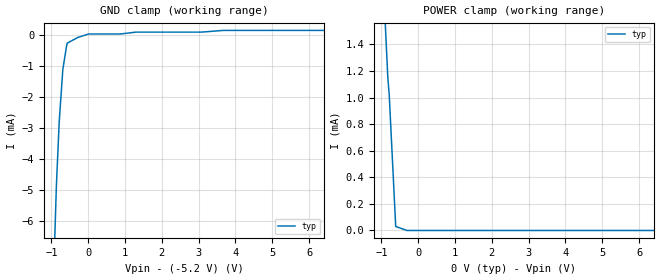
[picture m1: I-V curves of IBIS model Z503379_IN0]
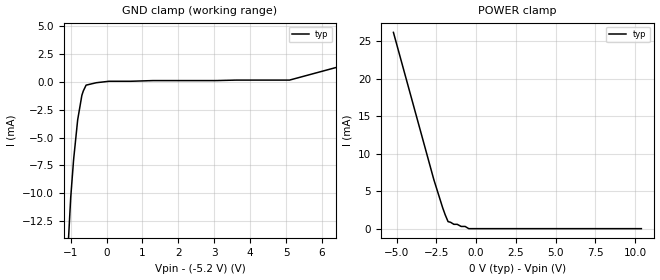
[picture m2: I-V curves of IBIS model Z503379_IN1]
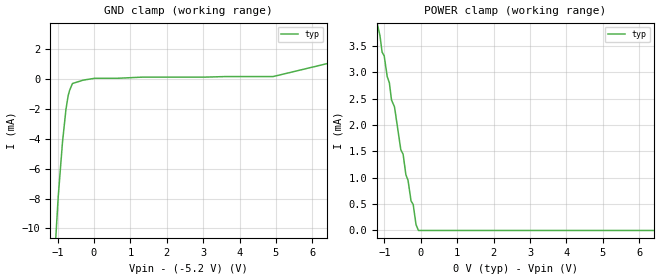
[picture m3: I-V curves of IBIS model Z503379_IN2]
| YOU ARE ONLY AUTHORIZED TO USE THIS SOFTWARE
| ACCORDING TO LICENSOR'S LICENSE RESTRICTIONS.
[IBIS Ver] 3.1
[File Name] mc100e457fn.ibs
[File Rev] 2.0
[Source] Measured and created by ICX Technology
[Date] Friday 7/14/00 9:07:47 AM
[Copyright]
| (C) COPYRIGHT 1993-2000
| MENTOR GRAPHICS CORPORATION
| ICX STANDARD LIBRARY, ICX PROJECT MODELING,
| ICX CUSTOM MODELING, ICX VENDOR MODEL
| ALL RIGHTS RESERVED.
| THE FOLLOWING ARE TRADEMARKS OR SERVICE MARKS OF
| MENTOR GRAPHICS CORPORATION:ICX (R), ICX STANDARD
| LIBRARY(R), ICX PROJECT MODELING(R), ICX CUSTOM
| MODELING(R), qualityIBIS(TM), MODELVIEWER(TM),
| AND MODELEDITOR(TM)
| ALL COPIES OF SOFTWARE, INCLUDING BUT NOT LIMITED TO
| ANY MODIFICATIONS, ENHANCEMENTS OR DERIVATIVE WORKS,
| MUST CONTAIN ALL MENTOR GRAPHICS CORPORATION'S
| NOTICES AND LEGENDS, INCLUDING THOSE EMBEDDED IN
| SOFTWARE AND THOSE AFFIXED TO SOFTWARE MEDIUM
| AND CONTAINER, AS RECEIVED FROM MENTOR GRAPHICS
| CORPORATION.
|  ZAP Model Builder 2.7
[Component] MC100E457FN
[Manufacturer] OnSemiconductor
[Package]
| variable   typ   min   max
R_pkg  .083ohms NA NA
L_pkg  4.299nH NA NA
C_pkg  1.045pF NA NA
[Pin] signal_name  model_name  R_pin  L_pin C_pin
1 VEE POWER .08 3.94n .925p
2 VBB POWER .082 4.14n .995p
3 _D1B Z503379_IN0 .084 4.354n 1.065p
4 D1B Z503379_IN0 .086 4.583n 1.135p
5 SEL0 Z503379_IN1 .086 4.583n 1.135p
6 D0A Z503379_IN0 .084 4.354n 1.065p
7 _D0A Z503379_IN0 .082 4.14n .995p
8 VBB POWER .08 3.94n .925p
9 _D0B Z503379_IN0 .082 4.14n .995p
10 D0B Z503379_IN0 .084 4.354n 1.065p
11 VCCO POWER .086 4.583n 1.135p
12 _Q0 Z503379_OUT0 .086 4.583n 1.135p
13 Q0 Z503379_OUT1 .084 4.354n 1.065p
14 Q1 Z503379_OUT1 .082 4.14n .995p
15 _Q1 Z503379_OUT0 .08 3.94n .925p
16 VCC POWER .082 4.14n .995p
17 Q2 Z503379_OUT0 .084 4.354n 1.065p
18 _Q2 Z503379_OUT1 .086 4.583n 1.135p
19 CS Z503379_IN2 .086 4.583n 1.135p
20 D2B Z503379_IN0 .084 4.354n 1.065p
21 _D2B Z503379_IN0 .082 4.14n .995p
22 VBB POWER .08 3.94n .925p
23 _D2A Z503379_IN0 .082 4.14n .995p
24 D2A Z503379_IN0 .084 4.354n 1.065p
25 SEL2 Z503379_IN1 .086 4.583n 1.135p
26 SEL1 Z503379_IN1 .086 4.583n 1.135p
27 D1A Z503379_IN0 .084 4.354n 1.065p
28 _D1A Z503379_IN0 .082 4.14n .995p
| Models and submodels in the file (5): Z503379_IN0 (Input_ECL), Z503379_IN1 (Input_ECL), Z503379_IN2 (Input_ECL), Z503379_OUT0 (Output_ECL), Z503379_OUT1 (Output_ECL)
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| (C) COPYRIGHT 1993-2000
| MENTOR GRAPHICS CORPORATION
| ICX STANDARD LIBRARY, ICX PROJECT MODELING,
| ICX CUSTOM MODELING, ICX VENDOR MODEL
| ALL RIGHTS RESERVED.
| THE FOLLOWING ARE TRADEMARKS OR SERVICE MARKS OF
| MENTOR GRAPHICS CORPORATION:ICX (R), ICX STANDARD
| LIBRARY(R), ICX PROJECT MODELING(R), ICX CUSTOM
| MODELING(R), qualityIBIS(TM), MODELVIEWER(TM),
| AND MODELEDITOR(TM)
| ALL COPIES OF SOFTWARE, INCLUDING BUT NOT LIMITED TO
| ANY MODIFICATIONS, ENHANCEMENTS OR DERIVATIVE WORKS,
| MUST CONTAIN ALL MENTOR GRAPHICS CORPORATION'S
| NOTICES AND LEGENDS, INCLUDING THOSE EMBEDDED IN
| SOFTWARE AND THOSE AFFIXED TO SOFTWARE MEDIUM
| AND CONTAINER, AS RECEIVED FROM MENTOR GRAPHICS
| CORPORATION.
| Model Application Version 1.89 2/18/99.
[Model] Z503379_IN0
Model_type Input_ECL
Vinl = -1.475V
Vinh = -1.165V
C_comp 4.000pF NA NA
| variable typ   min   max
[Voltage Range] -5.200V NA NA
[GND Clamp Reference] -5.200V NA NA
[POWER Clamp Reference] 0.000V NA NA
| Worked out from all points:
|   GND clamp passes 1 mA (typ) near -0.67 V on its own axis
|   POWER clamp passes 1 mA (typ) near -0.78 V on its own axis
[GND Clamp]
-5.2V     -353.6mA   NA         NA
-1.001V   -10.1mA    NA         NA
-864mV    -4.854mA   NA         NA
-787mV    -2.784mA   NA         NA
-689mV    -1.107mA   NA         NA
-571mV    -256.9uA   NA         NA
-285.5mV  -73.99uA   NA         NA
9mV       40.24uA    NA         NA
1.303V    101uA      NA         NA
3.083V    101uA      NA         NA
3.677V    156.1uA    NA         NA
10.4V     156.1uA    NA         NA
[POWER Clamp]
-5.2V     35.91mA    NA         NA
-2.471V   12.84mA    NA         NA
-1.68V    6.533mA    NA         NA
-1.385V   4.525mA    NA         NA
-1.186V   3.317mA    NA         NA
-1.123V   3.017mA    NA         NA
-1.006V   2.214mA    NA         NA
-826.5mV  1.157mA    NA         NA
-787.4mV  1.021mA    NA         NA
-610.4mV  29.8uA     NA         NA
-305.2mV  0A         NA         NA
10.4V     0A         NA         NA
| (C) COPYRIGHT 1993-2000
| MENTOR GRAPHICS CORPORATION
| ICX STANDARD LIBRARY, ICX PROJECT MODELING,
| ICX CUSTOM MODELING, ICX VENDOR MODEL
| ALL RIGHTS RESERVED.
| THE FOLLOWING ARE TRADEMARKS OR SERVICE MARKS OF
| MENTOR GRAPHICS CORPORATION:ICX (R), ICX STANDARD
| LIBRARY(R), ICX PROJECT MODELING(R), ICX CUSTOM
| MODELING(R), qualityIBIS(TM), MODELVIEWER(TM),
| AND MODELEDITOR(TM)
| ALL COPIES OF SOFTWARE, INCLUDING BUT NOT LIMITED TO
| ANY MODIFICATIONS, ENHANCEMENTS OR DERIVATIVE WORKS,
| MUST CONTAIN ALL MENTOR GRAPHICS CORPORATION'S
| NOTICES AND LEGENDS, INCLUDING THOSE EMBEDDED IN
| SOFTWARE AND THOSE AFFIXED TO SOFTWARE MEDIUM
| AND CONTAINER, AS RECEIVED FROM MENTOR GRAPHICS
| CORPORATION.
| Model Application Version 1.89 2/18/99.
[Model] Z503379_IN1
Model_type Input_ECL
Vinl = -1.475V
Vinh = -1.165V
C_comp 4.000pF NA NA
| variable typ   min   max
[Voltage Range] -5.200V NA NA
[GND Clamp Reference] -5.200V NA NA
[POWER Clamp Reference] 0.000V NA NA
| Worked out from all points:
|   GND clamp passes 1 mA (typ) near -0.67 V on its own axis
|   POWER clamp passes 1 mA (typ) near -1.77 V on its own axis
[GND Clamp]
-5.2V     -385.7mA   NA         NA
-1.187V   -21.65mA   NA         NA
-1V       -10.4mA    NA         NA
-919mV    -6.983mA   NA         NA
-806mV    -3.417mA   NA         NA
-689mV    -1.217mA   NA         NA
-649mV    -824.8uA   NA         NA
-571mV    -301.3uA   NA         NA
-285.5mV  -83.87uA   NA         NA
67mV      46.24uA    NA         NA
5.098V    151.8uA    NA         NA
10.4V     4.772mA    NA         NA
[POWER Clamp]
-5.2V     26.21mA    NA         NA
-2.656V   6.538mA    NA         NA
-2.1V     2.781mA    NA         NA
-1.939V   1.83mA     NA         NA
-1.761V   936.8uA    NA         NA
-1.606V   853.8uA    NA         NA
-1.396V   579.9uA    NA         NA
-1.187V   579.9uA    NA         NA
-937.3mV  296uA      NA         NA
-687.6mV  296uA      NA         NA
-458.4mV  0A         NA         NA
10.4V     0A         NA         NA
| (C) COPYRIGHT 1993-2000
| MENTOR GRAPHICS CORPORATION
| ICX STANDARD LIBRARY, ICX PROJECT MODELING,
| ICX CUSTOM MODELING, ICX VENDOR MODEL
| ALL RIGHTS RESERVED.
| THE FOLLOWING ARE TRADEMARKS OR SERVICE MARKS OF
| MENTOR GRAPHICS CORPORATION:ICX (R), ICX STANDARD
| LIBRARY(R), ICX PROJECT MODELING(R), ICX CUSTOM
| MODELING(R), qualityIBIS(TM), MODELVIEWER(TM),
| AND MODELEDITOR(TM)
| ALL COPIES OF SOFTWARE, INCLUDING BUT NOT LIMITED TO
| ANY MODIFICATIONS, ENHANCEMENTS OR DERIVATIVE WORKS,
| MUST CONTAIN ALL MENTOR GRAPHICS CORPORATION'S
| NOTICES AND LEGENDS, INCLUDING THOSE EMBEDDED IN
| SOFTWARE AND THOSE AFFIXED TO SOFTWARE MEDIUM
| AND CONTAINER, AS RECEIVED FROM MENTOR GRAPHICS
| CORPORATION.
| Model Application Version 1.89 2/18/99.
[Model] Z503379_IN2
Model_type Input_ECL
Vinl = -1.475V
Vinh = -1.165V
C_comp 4.000pF NA NA
| variable typ   min   max
[Voltage Range] -5.200V NA NA
[GND Clamp Reference] -5.200V NA NA
[POWER Clamp Reference] 0.000V NA NA
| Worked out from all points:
|   GND clamp passes 1 mA (typ) near -0.69 V on its own axis
|   POWER clamp passes 1 mA (typ) near -0.38 V on its own axis
[GND Clamp]
-5.2V     -299.9mA   NA         NA
-1.055V   -10.89mA   NA         NA
-982mV    -7.89mA    NA         NA
-864mV    -4.225mA   NA         NA
-769mV    -2.039mA   NA         NA
-708mV    -1.121mA   NA         NA
-669mV    -778.8uA   NA         NA
-591mV    -318.1uA   NA         NA
-295.5mV  -93.33uA   NA         NA
29mV      34.1uA     NA         NA
4.922V    145.9uA    NA         NA
10.4V     3.341mA    NA         NA
[POWER Clamp]
-5.2V     56.49mA    NA         NA
-1.204V   3.948mA    NA         NA
-1.122V   3.695mA    NA         NA
-1.064V   3.384mA    NA         NA
-1.006V   3.314mA    NA         NA
-805.6mV  2.477mA    NA         NA
-722.7mV  2.345mA    NA         NA
-550mV    1.533mA    NA         NA
-486.9mV  1.447mA    NA         NA
-268.6mV  560.3uA    NA         NA
-66.05mV  0A         NA         NA
10.4V     0A         NA         NA
